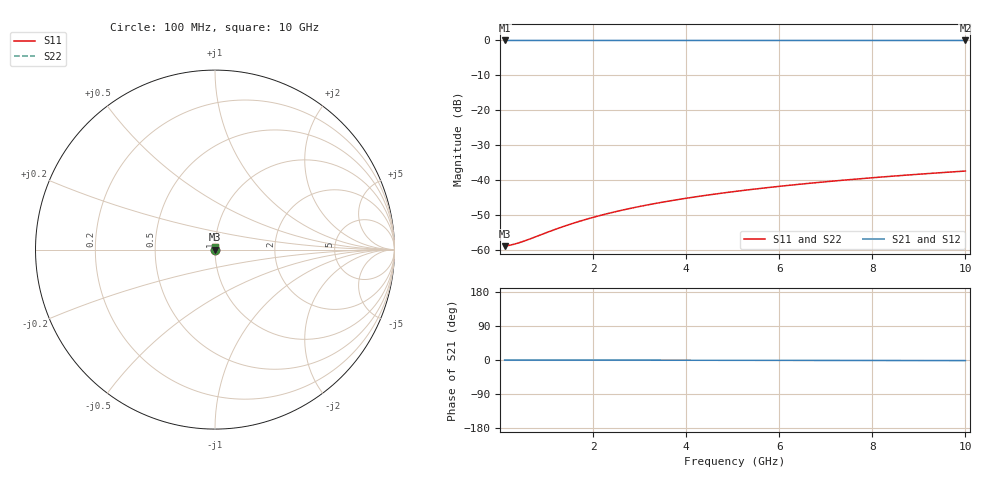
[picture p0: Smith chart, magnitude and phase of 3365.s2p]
# Hz S RI R 50.00
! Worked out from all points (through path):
!   100 points, 100 MHz to 10 GHz, reference 50 ohm
!   highest |S21| = -0.01 dB at 100 MHz (marker M1); lowest = 0.0 dB at 10 GHz (marker M2)
!   lowest |S11| = -58.8 dB at 100 MHz (marker M3), VSWR 1.00, Z = 50.1 + j0.0135 ohm
!   |S11| at or under -10 dB: start of sweep to end of sweep
!   |S22| runs from -58.8 to -37.3 dB; largest |S21 - S12| = 0
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1e8  0.00114 0.000135  0.9989 -0.000273  0.9989 -0.000273  0.00114 0.000135
2e8  0.00115 0.00027  0.9989 -0.000545  0.9989 -0.000545  0.00115 0.00027
3e8  0.00115 0.000405  0.9988 -0.000818  0.9988 -0.000818  0.00115 0.000405
4e8  0.00116 0.00054  0.9988 -0.00109  0.9988 -0.00109  0.00116 0.00054
6e8  0.00116 0.000809  0.9988 -0.00164  0.9988 -0.00164  0.00116 0.000809
1.1e9  0.00118 0.00148  0.9988 -0.003  0.9988 -0.003  0.00118 0.00148
1.3e9  0.00119 0.00175  0.9988 -0.00354  0.9988 -0.00354  0.00119 0.00175
1.5e9  0.00119 0.00202  0.9988 -0.00409  0.9988 -0.00409  0.00119 0.00202
1.8e9  0.0012 0.00243  0.9988 -0.00491  0.9988 -0.00491  0.0012 0.00243
2.1e9  0.00121 0.00283  0.9988 -0.00573  0.9988 -0.00573  0.00121 0.00283
2.5e9  0.00122 0.00337  0.9988 -0.00682  0.9988 -0.00682  0.00122 0.00337
2.9e9  0.00123 0.00391  0.9988 -0.00791  0.9988 -0.00791  0.00123 0.00391
3.4e9  0.00125 0.00459  0.9987 -0.00927  0.9987 -0.00927  0.00125 0.00459
3.8e9  0.00126 0.00512  0.9987 -0.0104  0.9987 -0.0104  0.00126 0.00512
4.2e9  0.00128 0.00566  0.9987 -0.0115  0.9987 -0.0115  0.00128 0.00566
4.6e9  0.0013 0.0062  0.9987 -0.0125  0.9987 -0.0125  0.0013 0.0062
5.1e9  0.00132 0.00688  0.9986 -0.0139  0.9986 -0.0139  0.00132 0.00688
5.9e9  0.00136 0.00796  0.9986 -0.0161  0.9986 -0.0161  0.00136 0.00796
6.7e9  0.0014 0.00903  0.9985 -0.0183  0.9985 -0.0183  0.0014 0.00903
7.5e9  0.00145 0.0101  0.9985 -0.0204  0.9985 -0.0204  0.00145 0.0101
8.4e9  0.00151 0.0113  0.9984 -0.0229  0.9984 -0.0229  0.00151 0.0113
1e10  0.00164 0.0135  0.9983 -0.0273  0.9983 -0.0273  0.00164 0.0135
